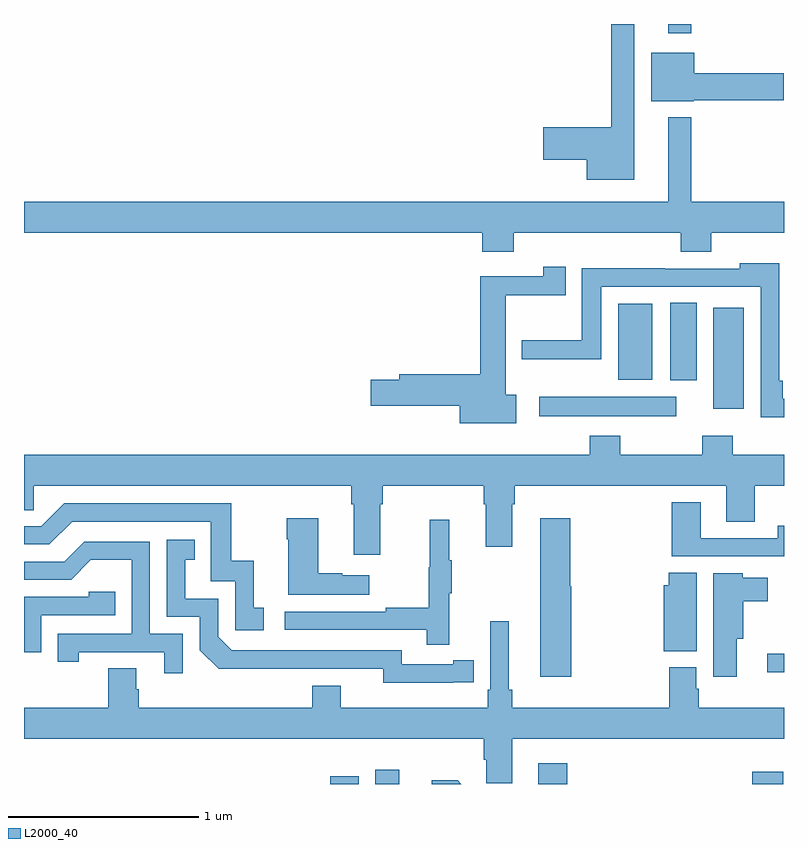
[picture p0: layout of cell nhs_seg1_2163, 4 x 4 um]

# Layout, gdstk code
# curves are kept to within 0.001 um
import gdstk
lib = gdstk.Library(unit=1e-6, precision=1e-09)
def R(c, l, rs):  # rectangles x0, y0, x1, y1
    for r in rs: c.add(gdstk.rectangle(r[:2], r[2:], *l))
def P(c, l, *ps):  # polygons
    for p in ps: c.add(gdstk.Polygon(p, *l))
L2000_40 = (2000, 40)

nhs_seg1_2163 = lib.new_cell('nhs_seg1_2163')
R(nhs_seg1_2163, L2000_40, [(230.613,514.199,230.761,514.24), (230.849,514.199,230.974,514.273), (231.707,514.199,231.86,514.309), (232.832,514.199,232.996,514.264), (232.911,514.787,233,514.884), (231.711,516.134,232.432,516.238), (232.628,516.174,232.789,516.706), (232.4,516.323,232.54,516.731), (232.127,516.326,232.306,516.727), (232.391,518.151,232.513,518.199)])
P(nhs_seg1_2163, L2000_40, [(232.213,518.199),(232.092,518.199),(232.092,517.655),(231.732,517.655),(231.732,517.484),(231.962,517.484),(231.962,517.379),(232.213,517.379)],
  [(232.524,517.799),(232.999,517.799),(232.999,517.941),(232.528,517.941),(232.528,518.047),(232.301,518.047),(232.301,517.793),(232.524,517.793)],
  [(231.578,517.1),(232.457,517.1),(232.457,517.001),(232.617,517.001),(232.617,517.1),(233,517.1),(233,517.264),(232.513,517.264),(232.513,517.708),(232.391,517.708),(232.391,517.264),(229,517.264),(229,517.1),(231.413,517.1),(231.413,517.001),(231.578,517.001)],
  [(233,516.226),(232.994,516.226),(232.994,516.322),(232.974,516.322),(232.974,516.94),(232.767,516.94),(232.767,516.912),(232.373,516.912),(232.373,516.914),(231.935,516.914),(231.935,516.534),(231.62,516.534),(231.62,516.434),(232.039,516.434),(232.039,516.816),(232.878,516.816),(232.878,516.128),(233,516.128)],
  [(231.592,516.248),(231.535,516.248),(231.535,516.772),(231.85,516.772),(231.85,516.922),(231.733,516.922),(231.733,516.871),(231.401,516.871),(231.401,516.356),(230.975,516.356),(230.975,516.326),(230.826,516.326),(230.826,516.191),(231.293,516.191),(231.293,516.098),(231.592,516.098)],
  [(230.875,515.672),(230.888,515.672),(230.888,515.768),(231.419,515.768),(231.419,515.672),(231.431,515.672),(231.431,515.448),(231.571,515.448),(231.571,515.672),(231.584,515.672),(231.584,515.768),(232.697,515.768),(232.697,515.578),(232.845,515.578),(232.845,515.768),(233,515.768),(233,515.932),(232.73,515.932),(232.73,516.031),(232.57,516.031),(232.57,515.932),(232.137,515.932),(232.137,516.031),(231.977,516.031),(231.977,515.932),(229,515.932),(229,515.641),(229.05,515.641),(229.05,515.768),(230.723,515.768),(230.723,515.672),(230.735,515.672),(230.735,515.406),(230.875,515.406)],
  [(233,515.557),(232.966,515.557),(232.966,515.493),(232.561,515.493),(232.561,515.683),(232.409,515.683),(232.409,515.397),(233,515.397)],
  [(230.263,515.127),(230.21,515.127),(230.21,515.374),(230.092,515.374),(230.092,515.676),(229.212,515.676),(229.092,515.556),(229,515.556),(229,515.46),(229.134,515.46),(229.254,515.58),(229.983,515.58),(229.983,515.265),(230.112,515.265),(230.112,515.007),(230.263,515.007)],
  [(230.818,515.299),(230.675,515.299),(230.675,515.309),(230.548,515.309),(230.548,515.599),(230.383,515.599),(230.383,515.486),(230.39,515.486),(230.39,515.195),(230.818,515.195)],
  [(231.88,515.241),(231.875,515.241),(231.875,515.599),(231.716,515.599),(231.716,514.764),(231.88,514.764)],
  [(231.239,515.203),(231.25,515.203),(231.25,515.377),(231.239,515.377),(231.239,515.59),(231.136,515.59),(231.136,515.34),(231.129,515.34),(231.129,515.126),(230.905,515.126),(230.905,515.106),(230.373,515.106),(230.373,515.01),(231.121,515.01),(231.121,514.932),(231.239,514.932)],
  [(231.26,514.734),(231.368,514.734),(231.368,514.85),(231.26,514.85),(231.26,514.83),(230.988,514.83),(230.988,514.902),(230.094,514.902),(230.022,514.974),(230.022,515.175),(229.849,515.175),(229.849,515.379),(229.898,515.379),(229.898,515.485),(229.752,515.485),(229.752,515.079),(229.926,515.079),(229.926,514.902),(230.024,514.805),(230.892,514.806),(230.892,514.733)],
  [(229.836,514.989),(229.662,514.989),(229.662,515.475),(229.316,515.475),(229.211,515.37),(229,515.37),(229,515.274),(229.248,515.274),(229.352,515.378),(229.566,515.378),(229.566,514.989),(229.177,514.989),(229.177,514.842),(229.288,514.842),(229.288,514.893),(229.739,514.893),(229.739,514.782),(229.836,514.782)],
  [(232.54,515.312),(232.394,515.312),(232.394,515.245),(232.367,515.245),(232.367,514.898),(232.54,514.898)],
  [(232.75,514.964),(232.786,514.964),(232.786,515.162),(232.915,515.162),(232.915,515.284),(232.782,515.284),(232.782,515.308),(232.628,515.308),(232.628,514.764),(232.75,514.764)],
  [(229.092,515.088),(229.481,515.088),(229.481,515.211),(229.341,515.211),(229.341,515.184),(229,515.184),(229,514.893),(229.092,514.893)],
  [(231.571,514.436),(233,514.436),(233,514.6),(232.55,514.6),(232.55,514.701),(232.537,514.701),(232.537,514.813),(232.397,514.813),(232.397,514.6),(231.569,514.6),(231.569,514.696),(231.55,514.696),(231.55,515.056),(231.453,515.056),(231.453,514.696),(231.44,514.696),(231.44,514.6),(230.668,514.6),(230.668,514.717),(230.516,514.717),(230.516,514.6),(229.604,514.6),(229.604,514.698),(229.591,514.698),(229.591,514.808),(229.444,514.808),(229.444,514.6),(229,514.6),(229,514.436),(231.419,514.436),(231.419,514.326),(231.432,514.326),(231.432,514.204),(231.571,514.204)],
  [(231.282,514.219),(231.147,514.219),(231.147,514.199),(231.302,514.199)])

lib.write_gds('nhs_seg1_2163.gds')
